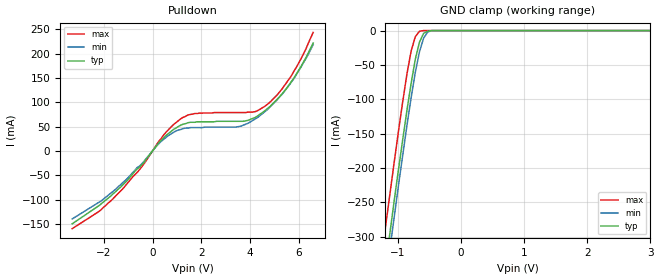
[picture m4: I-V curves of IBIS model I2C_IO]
| [Disclaimer]
| The data presented in this model is not guaranteed in any way.
| This file is for modeling purposes only and Analog Devices can
| not be held responsible for any damages done as a result of any
| information contained within this model. Any risk as to quality
| and performance is with the customer. IN NO EVENT SHALL ANALOG
| DEVICES BE LIABLE FOR ANY DAMAGES, WHETHER IN CONTRACT OR
| TORT,INCLUDING ANY LOST PROFITS OR OTHER INCIDENTAL,
| CONSEQUENTIAL, EXEMPLARY, OR PUNITIVE DAMAGES ARISING OUT
| OF THE USE OR APPLICATION OF THE IBIS MODEL PROVIDED in
| this file.
| Analog Devices reserves the right to modify this model at any
| time without notice to improve performance, reliability, or
| design.
| From adv7511.ibs, ADV7511, Analog Devices
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[Model] I2C_IO
Model_type   I/O_open_drain
Polarity   Non-Inverting
Vinl = 1.5V
Vinh = 3.0V
Vmeas=3.3
Vref=3.3
Rref=500
C_comp   3pF  3pF   3pF
[Voltage Range]  1.8   1.6   5.5
[Temperature Range]  25  -25   85
[Ramp]
dV/dt_r   1.43/5.95e-10   1.22/7.52e-10   1.63/5.11e-10
dV/dt_f   1.41/1.85e-09   1.09/2.13e-09   1.65/1.51e-09
R_load = 500
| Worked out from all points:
|   slope of the pulldown table from 0 to 0.27 V, typ, clamps not added: 15.6 ohm
|   GND clamp passes 1 mA (typ) near -0.53 V on its own axis
[GND_Clamp]
|V   I(typ)   I(min)   I(max)
-3.3V     -1.866A    -1.888A    -1.812A
-1.254V   -382mA     -406mA     -325mA
-1.188V   -336mA     -360mA     -279mA
-1.122V   -291mA     -314mA     -234mA
-1.056V   -245mA     -269mA     -189mA
-858mV    -116mA     -138mA     -63mA
-792mV    -77mA      -98mA      -30mA
-726mV    -42mA      -61mA      -9mA
-660mV    -17mA      -31mA      -1mA
-594mV    -4mA       -11mA      0A
-462mV    0A         0A         0A
5.5V      0A         0A         0A
[Pulldown]
|V   I(typ)   I(min)   I(max)
-3.3V     -150mA     -140mA     -160mA
-2.211V   -113mA     -106mA     -125mA
-1.221V   -70mA      -65mA      -78mA
-429mV    -28mA      -26mA      -32mA
363mV     22mA       20mA       26mA
1.155V    53mA       44mA       66mA
1.749V    59mA       48mA       77mA
3.63V     61mA       51mA       79mA
4.224V    69mA       66mA       81mA
4.818V    91mA       90mA       100mA
5.709V    143mA      142mA      155mA
6.6V      222mA      219mA      244mA
